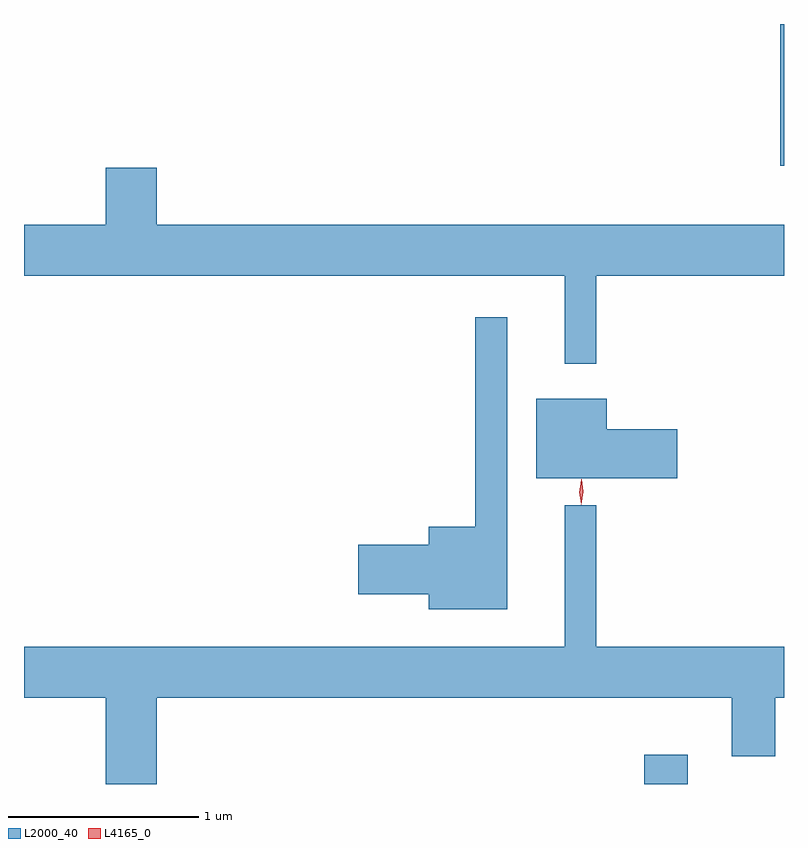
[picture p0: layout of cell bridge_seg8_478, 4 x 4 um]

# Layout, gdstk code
import gdstk
lib = gdstk.Library(unit=1e-6, precision=1e-09)
def R(c, l, rs):  # rectangles x0, y0, x1, y1
    for r in rs: c.add(gdstk.rectangle(r[:2], r[2:], *l))
def P(c, l, *ps):  # polygons
    for p in ps: c.add(gdstk.Polygon(p, *l))
L2000_40 = (2000, 40)
L4165_0 = (4165, 0)

bridge_seg8_478 = lib.new_cell('bridge_seg8_478')
R(bridge_seg8_478, L2000_40, [(457.671,1887.021,457.899,1887.174), (458.386,1890.276,458.406,1891.021)])
P(bridge_seg8_478, L2000_40, [(457.419,1889.696),(458.406,1889.696),(458.406,1889.964),(455.104,1889.964),(455.104,1890.264),(454.836,1890.264),(454.836,1889.964),(454.406,1889.964),(454.406,1889.696),(457.251,1889.696),(457.251,1889.233),(457.419,1889.233)],
  [(456.949,1889.478),(456.781,1889.478),(456.781,1888.374),(456.536,1888.374),(456.536,1888.279),(456.166,1888.279),(456.166,1888.021),(456.536,1888.021),(456.536,1887.941),(456.949,1887.941)],
  [(457.844,1888.889),(457.474,1888.889),(457.474,1889.049),(457.101,1889.049),(457.101,1888.631),(457.844,1888.631)],
  [(457.251,1888.488),(457.251,1887.744),(454.406,1887.744),(454.406,1887.476),(454.836,1887.476),(454.836,1887.021),(455.104,1887.021),(455.104,1887.476),(458.131,1887.476),(458.131,1887.166),(458.359,1887.166),(458.359,1887.476),(458.406,1887.476),(458.406,1887.744),(457.419,1887.744),(457.419,1888.488)])
P(bridge_seg8_478, L4165_0, [(457.339,1888.493),(457.339,1888.493),(457.329,1888.556),(457.339,1888.619),(457.339,1888.62),(457.34,1888.619),(457.35,1888.556),(457.34,1888.493)],
  [(457.338,1888.49),(457.33,1888.558),(457.34,1888.626),(457.341,1888.626),(457.341,1888.626),(457.35,1888.558),(457.339,1888.49),(457.339,1888.49)])

lib.write_gds('bridge_seg8_478.gds')
